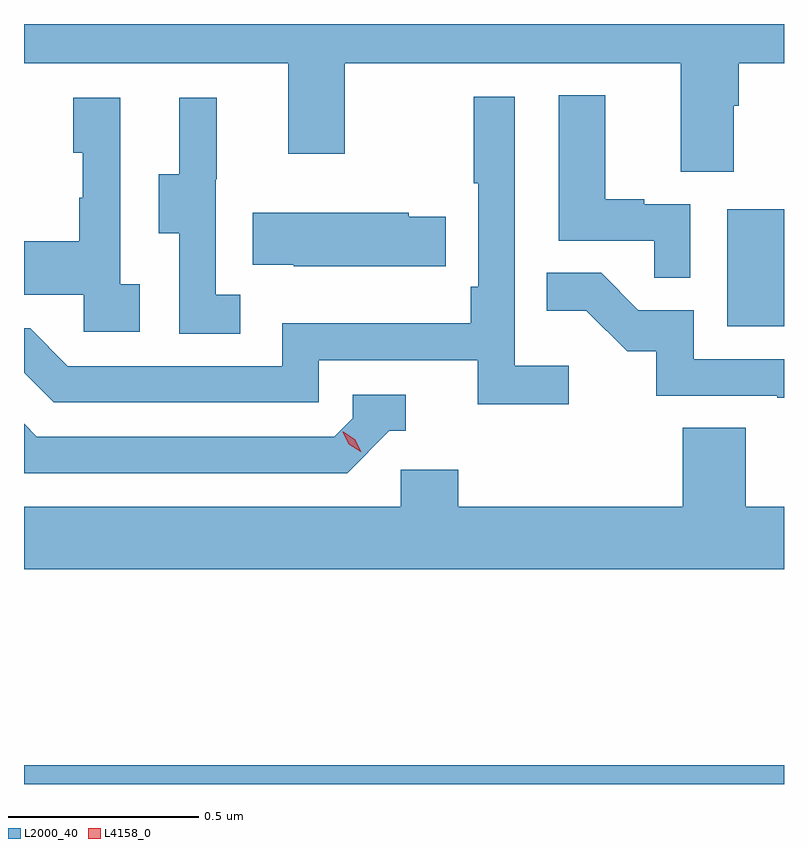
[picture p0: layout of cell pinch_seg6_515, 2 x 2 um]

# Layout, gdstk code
import gdstk
lib = gdstk.Library(unit=1e-6, precision=1e-09)
def R(c, l, rs):  # rectangles x0, y0, x1, y1
    for r in rs: c.add(gdstk.rectangle(r[:2], r[2:], *l))
def P(c, l, *ps):  # polygons
    for p in ps: c.add(gdstk.Polygon(p, *l))
L2000_40 = (2000, 40)
L4158_0 = (4158, 0)

pinch_seg6_515 = lib.new_cell('pinch_seg6_515')
R(pinch_seg6_515, L2000_40, [(841.499,921.463,843.499,921.512), (843.35,922.668,843.499,922.975)])
P(pinch_seg6_515, L2000_40, [(843.367,923.248),(843.38,923.248),(843.38,923.36),(843.499,923.36),(843.499,923.463),(841.499,923.463),(841.499,923.36),(842.195,923.36),(842.195,923.121),(842.343,923.121),(842.343,923.36),(843.227,923.36),(843.227,923.074),(843.367,923.074)],
  [(843.252,922.989),(843.131,922.989),(843.131,923.002),(843.028,923.002),(843.028,923.275),(842.906,923.275),(842.906,922.893),(843.157,922.893),(843.157,922.795),(843.252,922.795)],
  [(842.932,922.564),(842.79,922.564),(842.79,923.272),(842.682,923.272),(842.682,923.044),(842.694,923.044),(842.694,922.771),(842.674,922.771),(842.674,922.675),(842.178,922.675),(842.178,922.563),(841.614,922.563),(841.515,922.662),(841.499,922.662),(841.499,922.545),(841.577,922.467),(842.274,922.467),(842.274,922.578),(842.693,922.578),(842.693,922.462),(842.932,922.462)],
  [(842.068,922.751),(842.004,922.751),(842.004,923.055),(842.006,923.055),(842.006,923.269),(841.907,923.269),(841.907,923.067),(841.853,923.067),(841.853,922.912),(841.908,922.912),(841.908,922.648),(842.068,922.648)],
  [(841.804,922.778),(841.752,922.778),(841.752,923.269),(841.628,923.269),(841.628,923.124),(841.654,923.124),(841.654,923.006),(841.644,923.006),(841.644,922.891),(841.499,922.891),(841.499,922.751),(841.656,922.751),(841.656,922.653),(841.804,922.653)],
  [(842.609,922.956),(842.511,922.956),(842.511,922.966),(842.101,922.966),(842.101,922.829),(842.209,922.829),(842.209,922.826),(842.609,922.826)],
  [(843.499,922.581),(843.261,922.581),(843.261,922.71),(843.116,922.71),(843.018,922.808),(842.875,922.808),(842.875,922.709),(842.979,922.709),(843.086,922.602),(843.163,922.602),(843.163,922.485),(843.481,922.485),(843.481,922.48),(843.499,922.48)],
  [(842.46,922.392),(842.503,922.392),(842.503,922.488),(842.364,922.488),(842.364,922.425),(842.316,922.377),(841.533,922.377),(841.499,922.411),(841.499,922.281),(842.349,922.281)],
  [(843.499,922.192),(843.398,922.192),(843.398,922.4),(843.233,922.4),(843.233,922.192),(842.642,922.192),(842.642,922.29),(842.49,922.29),(842.49,922.192),(841.499,922.192),(841.499,922.028),(843.499,922.028)])
P(pinch_seg6_515, L4158_0, [(842.385,922.337),(842.354,922.357),(842.338,922.39),(842.338,922.39),(842.339,922.39),(842.369,922.37),(842.386,922.338),(842.386,922.337)])

lib.write_gds('pinch_seg6_515.gds')
